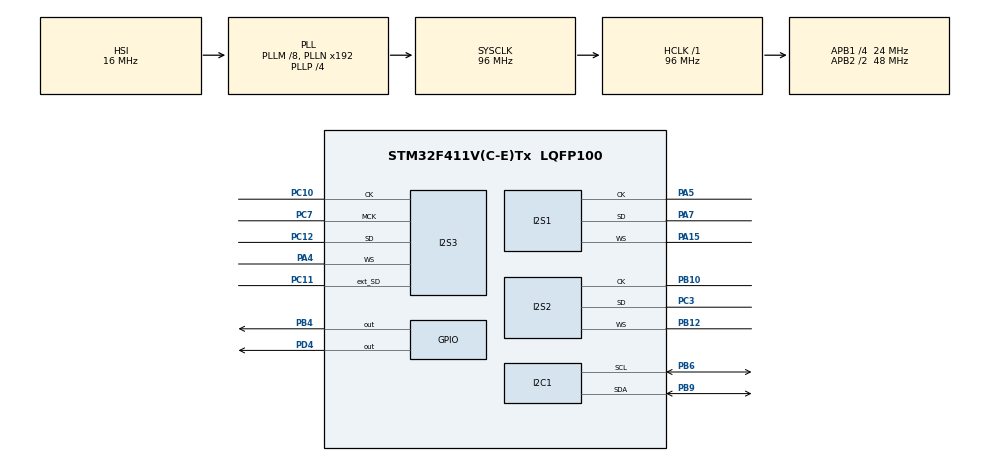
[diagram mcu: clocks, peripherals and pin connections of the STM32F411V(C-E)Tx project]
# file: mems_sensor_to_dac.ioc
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Dma.Request0=SPI2_RX
Dma.Request1=SPI3_TX
Dma.Request2=SPI1_RX
Dma.SPI1_RX.2.Direction=DMA_PERIPH_TO_MEMORY
Dma.SPI1_RX.2.FIFOMode=DMA_FIFOMODE_DISABLE
Dma.SPI1_RX.2.Instance=DMA2_Stream0
Dma.SPI1_RX.2.MemDataAlignment=DMA_MDATAALIGN_BYTE
Dma.SPI1_RX.2.MemInc=DMA_MINC_ENABLE
Dma.SPI1_RX.2.Mode=DMA_NORMAL
Dma.SPI1_RX.2.PeriphDataAlignment=DMA_PDATAALIGN_BYTE
Dma.SPI1_RX.2.PeriphInc=DMA_PINC_DISABLE
Dma.SPI1_RX.2.Priority=DMA_PRIORITY_LOW
Dma.SPI2_RX.0.Direction=DMA_PERIPH_TO_MEMORY
Dma.SPI2_RX.0.FIFOMode=DMA_FIFOMODE_DISABLE
Dma.SPI2_RX.0.Instance=DMA1_Stream3
Dma.SPI2_RX.0.MemDataAlignment=DMA_MDATAALIGN_HALFWORD
Dma.SPI2_RX.0.MemInc=DMA_MINC_ENABLE
Dma.SPI2_RX.0.Mode=DMA_CIRCULAR
Dma.SPI2_RX.0.PeriphDataAlignment=DMA_PDATAALIGN_HALFWORD
Dma.SPI2_RX.0.PeriphInc=DMA_PINC_DISABLE
Dma.SPI2_RX.0.Priority=DMA_PRIORITY_LOW
Dma.SPI3_TX.1.Direction=DMA_MEMORY_TO_PERIPH
Dma.SPI3_TX.1.FIFOMode=DMA_FIFOMODE_DISABLE
Dma.SPI3_TX.1.Instance=DMA1_Stream5
Dma.SPI3_TX.1.MemDataAlignment=DMA_MDATAALIGN_HALFWORD
Dma.SPI3_TX.1.MemInc=DMA_MINC_ENABLE
Dma.SPI3_TX.1.Mode=DMA_CIRCULAR
Dma.SPI3_TX.1.PeriphDataAlignment=DMA_PDATAALIGN_HALFWORD
Dma.SPI3_TX.1.PeriphInc=DMA_PINC_DISABLE
Dma.SPI3_TX.1.Priority=DMA_PRIORITY_LOW
I2S1.AudioFreq=I2S_AUDIOFREQ_48K
I2S1.DataFormat=I2S_DATAFORMAT_16B_EXTENDED
I2S1.ErrorAudioFreq=1.72 %
I2S1.FullDuplexMode=I2S_FULLDUPLEXMODE_DISABLE
I2S1.Instance=SPI$Index
I2S1.Mode=I2S_MODE_SLAVE_RX
I2S1.RealAudioFreq=48.828 KHz
I2S1.VirtualMode=I2S_MODE_SLAVE
I2S2.AudioFreq=I2S_AUDIOFREQ_48K
I2S2.DataFormat=I2S_DATAFORMAT_24B
I2S2.ErrorAudioFreq=1.72 %
I2S2.FullDuplexMode=I2S_FULLDUPLEXMODE_DISABLE
I2S2.Instance=SPI$Index
I2S2.Mode=I2S_MODE_SLAVE_RX
I2S2.RealAudioFreq=48.828 KHz
I2S2.Standard=I2S_STANDARD_MSB
I2S2.VirtualMode=I2S_MODE_SLAVE
I2S3.AudioFreq=I2S_AUDIOFREQ_48K
I2S3.DataFormat=I2S_DATAFORMAT_24B
I2S3.ErrorAudioFreq=1.72 %
I2S3.FullDuplexMode=I2S_FULLDUPLEXMODE_ENABLE
I2S3.Instance=SPI$Index
I2S3.RealAudioFreq=48.828 KHz
I2S3.VirtualMode=I2S_MODE_MASTER
Mcu.Family=STM32F4
Mcu.Name=STM32F411V(C-E)Tx
Mcu.Package=LQFP100
NVIC.DMA1_Stream3_IRQn=true\:0\:0\:false\:false\:true\:false\:true
NVIC.DMA1_Stream5_IRQn=true\:0\:0\:false\:false\:true\:false\:true
NVIC.DMA2_Stream0_IRQn=true\:0\:0\:false\:false\:true\:false\:true
NVIC.PriorityGroup=NVIC_PRIORITYGROUP_0
PA15.Mode=Half_Duplex_Slave
PA15.Signal=I2S1_WS
PA4.Mode=Full_Duplex_Master
PA4.Signal=I2S3_WS
PA5.Mode=Half_Duplex_Slave
PA5.Signal=I2S1_CK
PA7.Mode=Half_Duplex_Slave
PA7.Signal=I2S1_SD
PB10.Mode=Half_Duplex_Slave
PB10.Signal=I2S2_CK
PB12.Mode=Half_Duplex_Slave
PB12.Signal=I2S2_WS
PB4.Signal=GPIO_Output
PB6.Mode=I2C
PB6.Signal=I2C1_SCL
PB9.Mode=I2C
PB9.Signal=I2C1_SDA
PC10.Mode=Full_Duplex_Master
PC10.Signal=I2S3_CK
PC11.Mode=Full_Duplex_Master
PC11.Signal=I2S3_ext_SD
PC12.Mode=Full_Duplex_Master
PC12.Signal=I2S3_SD
PC3.Mode=Half_Duplex_Slave
PC3.Signal=I2S2_SD
PC7.Mode=Master_Clock_Activated
PC7.Signal=I2S3_MCK
PD4.Signal=GPIO_Output
PDM2PCM.CHANNEL1_bit_order=PDM_FILTER_BIT_ORDER_LSB
PDM2PCM.CHANNEL1_in_ptr_channels=1
PDM2PCM.CHANNEL1_out_ptr_channels=1
ProjectManager.HeapSize=0x200
ProjectManager.StackSize=0x400
ProjectManager.TargetToolchain=STM32CubeIDE
RCC.48MHZClocksFreq_Value=48000000
RCC.AHBFreq_Value=96000000
RCC.APB1CLKDivider=RCC_HCLK_DIV4
RCC.APB1Freq_Value=24000000
RCC.APB1TimFreq_Value=48000000
RCC.APB2CLKDivider=RCC_HCLK_DIV2
RCC.APB2Freq_Value=48000000
RCC.APB2TimFreq_Value=96000000
RCC.CortexFreq_Value=96000000
RCC.HCLKFreq_Value=96000000
RCC.HSE_VALUE=8000000
RCC.HSI_VALUE=16000000
RCC.LSE_VALUE=32768
RCC.PLLI2SM=8
RCC.PLLI2SN=50
RCC.PLLM=8
RCC.PLLP=RCC_PLLP_DIV4
RCC.PLLQ=8
RCC.SYSCLKFreq_VALUE=96000000
RCC.SYSCLKSource=RCC_SYSCLKSOURCE_PLLCLK
RCC.VCOOutputFreq_Value=384000000
VP_CRC_VS_CRC.Mode=CRC_Activate
VP_PDM2PCM_VS_PDM2PCM.Mode=PDM2PCM_Channel
board=STM32F411E-DISCO

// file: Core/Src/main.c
/* USER CODE BEGIN Header */
/**
 ******************************************************************************
 * @file           : main.c
 * @brief          : Main program body
 ******************************************************************************
 * @attention
 *
 * <h2><center>&copy; Copyright (c) 2021 STMicroelectronics.
 * All rights reserved.</center></h2>
 *
 * This software component is licensed by ST under Ultimate Liberty license
 * SLA0044, the "License"; You may not use this file except in compliance with
 * the License. You may obtain a copy of the License at:
 *                             www.st.com/SLA0044
 *
 ******************************************************************************
 */
/* USER CODE END Header */
#include "main.h"
#include "pdm2pcm.h"

/* USER CODE BEGIN Includes */
#include "cs43l22.h"
/* USER CODE END Includes */

CRC_HandleTypeDef hcrc;

I2C_HandleTypeDef hi2c1;

I2S_HandleTypeDef hi2s1;
I2S_HandleTypeDef hi2s2;
I2S_HandleTypeDef hi2s3;
DMA_HandleTypeDef hdma_spi1_rx;
DMA_HandleTypeDef hdma_spi2_rx;
DMA_HandleTypeDef hdma_spi3_tx;

void SystemClock_Config(void);
static void MX_GPIO_Init(void);
static void MX_DMA_Init(void);
static void MX_I2S2_Init(void);
static void MX_CRC_Init(void);
static void MX_I2C1_Init(void);
static void MX_I2S3_Init(void);
static void MX_I2S1_Init(void);

/* USER CODE BEGIN 0 */

uint16_t txBuf[128];
uint16_t pdmRxBuf[128];
uint16_t rxBuf[128];		// i2s input
uint16_t MidBuffer[16];
uint8_t txstate = 0;
uint8_t rxstate = 0;

uint16_t fifobuf[256];
uint8_t fifo_w_ptr = 0;
uint8_t fifo_r_ptr = 0;
uint8_t fifo_read_enabled = 1;

void FifoWrite(uint16_t data) {
	fifobuf[fifo_w_ptr] = data;
	fifo_w_ptr++;
}

uint16_t FifoRead() {
	uint16_t val = fifobuf[fifo_r_ptr];
	fifo_r_ptr++;
	return val;
}
/* USER CODE END 0 */

int main(void)
{

  /* MCU Configuration--------------------------------------------------------*/

  /* Reset of all peripherals, Initializes the Flash interface and the Systick. */
  HAL_Init();

  /* Configure the system clock */
  SystemClock_Config();

  /* Initialize all configured peripherals */
  MX_GPIO_Init();
  MX_DMA_Init();
  MX_I2S2_Init();
  MX_CRC_Init();
  MX_I2C1_Init();
  MX_I2S3_Init();
  MX_PDM2PCM_Init();
  MX_I2S1_Init();
  /* USER CODE BEGIN 2 */
	CS43_Init(hi2c1, MODE_I2S);
	CS43_SetVolume(40); //0 - 100,, 40
	CS43_Enable_RightLeft(CS43_RIGHT_LEFT);
	CS43_Start();
	HAL_I2S_Transmit_DMA(&hi2s3, &txBuf[0], 64);
	HAL_I2S_Receive_DMA(&hi2s2, &pdmRxBuf[0], 64);
	HAL_I2S_Receive_DMA(&hi2s1, &rxBuf[0], 64);

  /* USER CODE END 2 */

  /* Infinite loop */
	while (1) {

    /* USER CODE BEGIN 3 */
//	  HAL_I2S_Receive_DMA(&hi2s2, &pdmRxBuf[0],128);
//	  PDM_Filter(&pdmRxBuf[0],&txBuf[0], &PDM1_filter_handler);
		//HAL_Delay(500);
//	  HAL_I2S_Transmit_DMA(&hi2s3, &txBuf[0],128);

		if (rxstate == 1) {
			PDM_Filter(&pdmRxBuf[0], &MidBuffer[0], &PDM1_filter_handler);
			for (int i = 0; i < 16; i++) {
				FifoWrite(MidBuffer[i]);
			}
			rxstate = 0;
		}

		if (rxstate == 2) {
			PDM_Filter(&pdmRxBuf[64], &MidBuffer[0], &PDM1_filter_handler);
			for (int i = 0; i < 16; i++) {
				FifoWrite(MidBuffer[i]);
			}
			rxstate = 0;
		}

//		if (rxstate == 3) {
//			for (int i = 0; i < 64; i++) {
//				FifoWrite(rxBuf[i]);
//			}
//			rxstate = 0;
//		}

//		if (rxstate == 4) {
//			for (int i = 64; i < 128; i++) {
//				FifoWrite(rxBuf[i]);
//			}
//			rxstate = 0;
//		}

		if (txstate == 1) {
			if (fifo_read_enabled == 1) {
				for (int i = 0; i < 64; i = i + 4) {
					uint16_t data = FifoRead();
					txBuf[i] = data;
					txBuf[i + 2] = data;
				}
			}
			txstate = 0;
		}

		if (txstate == 2) {
			if (fifo_read_enabled == 1) {
				for (int i = 64; i < 128; i = i + 4) {
					uint16_t data = FifoRead();
					txBuf[i] = data;
					txBuf[i + 2] = data;
				}
			}
			txstate = 0;
		}
	}
  /* USER CODE END 3 */
}

void SystemClock_Config(void)
{
  RCC_OscInitTypeDef RCC_OscInitStruct = {0};
  RCC_ClkInitTypeDef RCC_ClkInitStruct = {0};
  RCC_PeriphCLKInitTypeDef PeriphClkInitStruct = {0};

  /** Configure the main internal regulator output voltage
  */
  __HAL_RCC_PWR_CLK_ENABLE();
  __HAL_PWR_VOLTAGESCALING_CONFIG(PWR_REGULATOR_VOLTAGE_SCALE1);
  /** Initializes the RCC Oscillators according to the specified parameters
  * in the RCC_OscInitTypeDef structure.
  */
  RCC_OscInitStruct.OscillatorType = RCC_OSCILLATORTYPE_HSI;
  RCC_OscInitStruct.HSIState = RCC_HSI_ON;
  RCC_OscInitStruct.HSICalibrationValue = RCC_HSICALIBRATION_DEFAULT;
  RCC_OscInitStruct.PLL.PLLState = RCC_PLL_ON;
  RCC_OscInitStruct.PLL.PLLSource = RCC_PLLSOURCE_HSI;
  RCC_OscInitStruct.PLL.PLLM = 8;
  RCC_OscInitStruct.PLL.PLLN = 192;
  RCC_OscInitStruct.PLL.PLLP = RCC_PLLP_DIV4;
  RCC_OscInitStruct.PLL.PLLQ = 8;
  if (HAL_RCC_OscConfig(&RCC_OscInitStruct) != HAL_OK)
  {
    Error_Handler();
  }
  /** Initializes the CPU, AHB and APB buses clocks
  */
  RCC_ClkInitStruct.ClockType = RCC_CLOCKTYPE_HCLK|RCC_CLOCKTYPE_SYSCLK
                              |RCC_CLOCKTYPE_PCLK1|RCC_CLOCKTYPE_PCLK2;
  RCC_ClkInitStruct.SYSCLKSource = RCC_SYSCLKSOURCE_PLLCLK;
  RCC_ClkInitStruct.AHBCLKDivider = RCC_SYSCLK_DIV1;
  RCC_ClkInitStruct.APB1CLKDivider = RCC_HCLK_DIV4;
  RCC_ClkInitStruct.APB2CLKDivider = RCC_HCLK_DIV2;

  if (HAL_RCC_ClockConfig(&RCC_ClkInitStruct, FLASH_LATENCY_3) != HAL_OK)
  {
    Error_Handler();
  }
  PeriphClkInitStruct.PeriphClockSelection = RCC_PERIPHCLK_I2S;
  PeriphClkInitStruct.PLLI2S.PLLI2SN = 50;
  PeriphClkInitStruct.PLLI2S.PLLI2SM = 8;
  PeriphClkInitStruct.PLLI2S.PLLI2SR = 2;
  if (HAL_RCCEx_PeriphCLKConfig(&PeriphClkInitStruct) != HAL_OK)
  {
    Error_Handler();
  }
}

static void MX_CRC_Init(void)
{

  hcrc.Instance = CRC;
  if (HAL_CRC_Init(&hcrc) != HAL_OK)
  {
    Error_Handler();
  }
  __HAL_CRC_DR_RESET(&hcrc);

}

static void MX_I2C1_Init(void)
{

  hi2c1.Instance = I2C1;
  hi2c1.Init.ClockSpeed = 100000;
  hi2c1.Init.DutyCycle = I2C_DUTYCYCLE_2;
  hi2c1.Init.OwnAddress1 = 0;
  hi2c1.Init.AddressingMode = I2C_ADDRESSINGMODE_7BIT;
  hi2c1.Init.DualAddressMode = I2C_DUALADDRESS_DISABLE;
  hi2c1.Init.OwnAddress2 = 0;
  hi2c1.Init.GeneralCallMode = I2C_GENERALCALL_DISABLE;
  hi2c1.Init.NoStretchMode = I2C_NOSTRETCH_DISABLE;
  if (HAL_I2C_Init(&hi2c1) != HAL_OK)
  {
    Error_Handler();
  }

}

static void MX_I2S1_Init(void)
{

  hi2s1.Instance = SPI1;
  hi2s1.Init.Mode = I2S_MODE_SLAVE_RX;
  hi2s1.Init.Standard = I2S_STANDARD_PHILIPS;
  hi2s1.Init.DataFormat = I2S_DATAFORMAT_16B_EXTENDED;
  hi2s1.Init.MCLKOutput = I2S_MCLKOUTPUT_DISABLE;
  hi2s1.Init.AudioFreq = I2S_AUDIOFREQ_48K;
  hi2s1.Init.CPOL = I2S_CPOL_LOW;
  hi2s1.Init.ClockSource = I2S_CLOCK_PLL;
  hi2s1.Init.FullDuplexMode = I2S_FULLDUPLEXMODE_DISABLE;
  if (HAL_I2S_Init(&hi2s1) != HAL_OK)
  {
    Error_Handler();
  }

}

static void MX_I2S2_Init(void)
{

  hi2s2.Instance = SPI2;
  hi2s2.Init.Mode = I2S_MODE_SLAVE_RX;
  hi2s2.Init.Standard = I2S_STANDARD_MSB;
  hi2s2.Init.DataFormat = I2S_DATAFORMAT_24B;
  hi2s2.Init.MCLKOutput = I2S_MCLKOUTPUT_DISABLE;
  hi2s2.Init.AudioFreq = I2S_AUDIOFREQ_48K;
  hi2s2.Init.CPOL = I2S_CPOL_LOW;
  hi2s2.Init.ClockSource = I2S_CLOCK_PLL;
  hi2s2.Init.FullDuplexMode = I2S_FULLDUPLEXMODE_DISABLE;
  if (HAL_I2S_Init(&hi2s2) != HAL_OK)
  {
    Error_Handler();
  }

}

static void MX_I2S3_Init(void)
{

  hi2s3.Instance = SPI3;
  hi2s3.Init.Mode = I2S_MODE_MASTER_TX;
  hi2s3.Init.Standard = I2S_STANDARD_PHILIPS;
  hi2s3.Init.DataFormat = I2S_DATAFORMAT_24B;
  hi2s3.Init.MCLKOutput = I2S_MCLKOUTPUT_ENABLE;
  hi2s3.Init.AudioFreq = I2S_AUDIOFREQ_48K;
  hi2s3.Init.CPOL = I2S_CPOL_LOW;
  hi2s3.Init.ClockSource = I2S_CLOCK_PLL;
  hi2s3.Init.FullDuplexMode = I2S_FULLDUPLEXMODE_ENABLE;
  if (HAL_I2S_Init(&hi2s3) != HAL_OK)
  {
    Error_Handler();
  }

}

static void MX_DMA_Init(void)
{

  /* DMA controller clock enable */
  __HAL_RCC_DMA1_CLK_ENABLE();
  __HAL_RCC_DMA2_CLK_ENABLE();

  /* DMA interrupt init */
  /* DMA1_Stream3_IRQn interrupt configuration */
  HAL_NVIC_SetPriority(DMA1_Stream3_IRQn, 0, 0);
  HAL_NVIC_EnableIRQ(DMA1_Stream3_IRQn);
  /* DMA1_Stream5_IRQn interrupt configuration */
  HAL_NVIC_SetPriority(DMA1_Stream5_IRQn, 0, 0);
  HAL_NVIC_EnableIRQ(DMA1_Stream5_IRQn);
  /* DMA2_Stream0_IRQn interrupt configuration */
  HAL_NVIC_SetPriority(DMA2_Stream0_IRQn, 0, 0);
  HAL_NVIC_EnableIRQ(DMA2_Stream0_IRQn);

}

static void MX_GPIO_Init(void)
{
  GPIO_InitTypeDef GPIO_InitStruct = {0};

  /* GPIO Ports Clock Enable */
  __HAL_RCC_GPIOC_CLK_ENABLE();
  __HAL_RCC_GPIOA_CLK_ENABLE();
  __HAL_RCC_GPIOB_CLK_ENABLE();
  __HAL_RCC_GPIOD_CLK_ENABLE();

  /*Configure GPIO pin Output Level */
  HAL_GPIO_WritePin(GPIOD, GPIO_PIN_4, GPIO_PIN_RESET);

  /*Configure GPIO pin Output Level */
  HAL_GPIO_WritePin(GPIOB, GPIO_PIN_4, GPIO_PIN_RESET);

  /*Configure GPIO pin : PD4 */
  GPIO_InitStruct.Pin = GPIO_PIN_4;
  GPIO_InitStruct.Mode = GPIO_MODE_OUTPUT_PP;
  GPIO_InitStruct.Pull = GPIO_NOPULL;
  GPIO_InitStruct.Speed = GPIO_SPEED_FREQ_LOW;
  HAL_GPIO_Init(GPIOD, &GPIO_InitStruct);

  /*Configure GPIO pin : PB4 */
  GPIO_InitStruct.Pin = GPIO_PIN_4;
  GPIO_InitStruct.Mode = GPIO_MODE_OUTPUT_PP;
  GPIO_InitStruct.Pull = GPIO_NOPULL;
  GPIO_InitStruct.Speed = GPIO_SPEED_FREQ_LOW;
  HAL_GPIO_Init(GPIOB, &GPIO_InitStruct);

}

/* USER CODE BEGIN 4 */
void HAL_I2S_TxHalfCpltCallback(I2S_HandleTypeDef *hi2s) {
	txstate = 1;
}

void HAL_I2S_TxCpltCallback(I2S_HandleTypeDef *hi2s) {
	txstate = 2;
}

void HAL_I2S_RxHalfCpltCallback(I2S_HandleTypeDef *hi2s) {
	if (hi2s->Instance == hi2s2.Instance) {		// microphone
		rxstate = 1;
	}
	if (hi2s->Instance == hi2s1.Instance) {		// i2s input
		rxstate = 3;
	}
}

void HAL_I2S_RxCpltCallback(I2S_HandleTypeDef *hi2s) {
	if (hi2s->Instance == hi2s2.Instance) {		// microphone
		rxstate = 2;
	}
	if (hi2s->Instance == hi2s1.Instance) {		// i2s input
		rxstate = 4;
	}
}

/* USER CODE END 4 */

void Error_Handler(void)
{
	__disable_irq();
	while (1) {
	}
}

/************************ (C) COPYRIGHT STMicroelectronics *****END OF FILE****/
